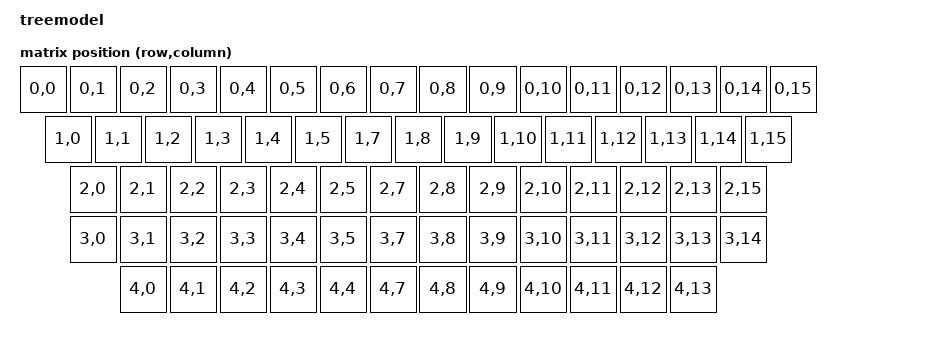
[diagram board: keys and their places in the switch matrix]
/*
 * Copyright (c) 2022 The ZMK Contributors
 *
 * SPDX-License-Identifier: MIT
 */

/dts-v1/;
#include <nordic/nrf52832_qfaa.dtsi>
#include <dt-bindings/zmk/matrix_transform.h>

/ {
	model = "treemodel";
	compatible = "nordic,nRF52";

	chosen {
		zephyr,console = &uart0;
		zephyr,shell-uart = &uart0;
		zephyr,uart-mcumgr = &uart0;
		zephyr,bt-mon-uart = &uart0;
		zephyr,bt-c2h-uart = &uart0;
		zephyr,sram = &sram0;
		zephyr,flash = &flash0;
		zephyr,code-partition = &slot0_partition;
		zmk,matrix_transform = &default_transform;
		/* kscan in the shields */
	};

	leds {
		compatible = "gpio-leds";
		led0: led_0 {
			gpios = <&gpio0 29 (GPIO_ACTIVE_LOW| GPIO_PULL_UP)>;
			label = "RGB RED 0";
		};
		led1: led_1 {
			gpios = <&gpio0 30 (GPIO_ACTIVE_LOW| GPIO_PULL_UP)>;
			label = "RGB Green 1";
		};
		led2: led_2 {
			gpios = <&gpio0 31 (GPIO_ACTIVE_LOW| GPIO_PULL_UP)>;
			label = "RGB Blue 2";
		};
	};

	default_transform: keymap_transform_0 {
		compatible = "zmk,matrix-transform";
		columns = <16>;
		rows = <5>;
		map = <
RC(0,0) RC(0,1) RC(0,2) RC(0,3) RC(0,4) RC(0,5) RC(0,6)   /**/ RC(0,7) RC(0,8) RC(0,9) RC(0,10) RC(0,11) RC(0,12)   RC(0,13)   RC(0,14)  RC(0,15)  
RC(1,0)     RC(1,1) RC(1,2) RC(1,3) RC(1,4) RC(1,5)       /**/RC(1,7) RC(1,8) RC(1,9) RC(1,10) RC(1,11) RC(1,12) RC(1,13)   RC(1,14)  RC(1,15)
RC(2,0)       RC(2,1) RC(2,2) RC(2,3) RC(2,4) RC(2,5)     /**/ RC(2,7) RC(2,8) RC(2,9) RC(2,10) RC(2,11) RC(2,12)     RC(2,13)  RC(2,15)
RC(3,0) RC(3,1)  RC(3,2) RC(3,3) RC(3,4) RC(3,5)  /**/   RC(3,7) RC(3,8) RC(3,9) RC(3,10) RC(3,11)     RC(3,12)     RC(3,13) RC(3,14) 
RC(4,0)  RC(4,1)  RC(4,2)         RC(4,3)         RC(4,4) /**/   RC(4,7) RC(4,8) RC(4,9) RC(4,10) RC(4,11) RC(4,12) RC(4,13) 
		>;
	};

	/* These aliases are provided for compatibility with samples */
	aliases {
		led0 = &led0;
		led1 = &led1;
		led2 = &led2;
		bootloader-led0 = &led0;
	};
};

&adc {
	status = "okay";
};

&gpiote {
	status = "okay";
};

&gpio0 {
	status = "okay";
};
arduino_serial: &uart0 {
	status = "okay";
	compatible = "nordic,nrf-uarte";
	current-speed = <115200>;
/*
	tx-pin = <6>;
	rx-pin = <8>;
	rts-pin = <5>;
	cts-pin = <7>;*/
};

/*arduino_i2c: &i2c0 {
	compatible = "nordic,nrf-twi";
	status = "okay";
	sda-pin = <26>;
	scl-pin = <27>;
};*/

&spi0 {
	compatible = "nordic,nrf-spi";
	/* Cannot be used together with i2c0.  */
	/* disabled  this bc i  think the pins conflict with my  board */
	/*
	status = "okay";
	sck-pin = <27>;
	mosi-pin = <26>;
	miso-pin = <28>; */
};

&flash0 {

	partitions {
		compatible = "fixed-partitions";
		#address-cells = <1>;
		#size-cells = <1>;

		boot_partition: partition@0 {
			label = "mcuboot";
			reg = <0x00000000 0xc000>;
		};
		slot0_partition: partition@c000 {
			label = "image-0";
			reg = <0x0000C000 0x32000>;
		};
		slot1_partition: partition@3e000 {
			label = "image-1";
			reg = <0x0003E000 0x32000>;
		};
		scratch_partition: partition@70000 {
			label = "image-scratch";
			reg = <0x00070000 0xa000>;
		};
		storage_partition: partition@7a000 {
			label = "storage";
			reg = <0x0007a000 0x00006000>;
		};
	};
};
